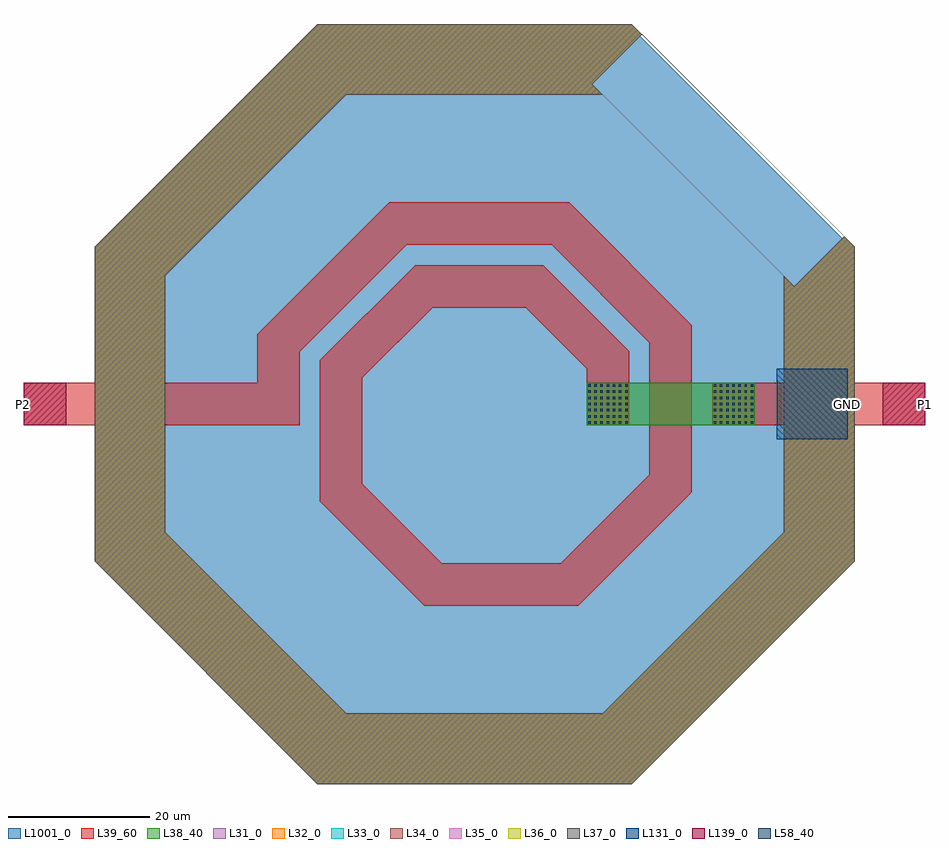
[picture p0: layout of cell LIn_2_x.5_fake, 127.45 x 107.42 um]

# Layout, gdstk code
import gdstk
lib = gdstk.Library(unit=1e-6, precision=1e-09)
def R(c, l, rs):  # rectangles x0, y0, x1, y1
    for r in rs: c.add(gdstk.rectangle(r[:2], r[2:], *l))
def A(c, l, x, y, w, h, nx, ny, dx, dy):  # array of equal rectangles
    R(c, l, [(x+i*dx, y+j*dy, x+i*dx+w, y+j*dy+h) for i in range(nx) for j in range(ny)])
def P(c, l, *ps):  # polygons
    for p in ps: c.add(gdstk.Polygon(p, *l))
L31_0 = (31, 0)
L32_0 = (32, 0)
L33_0 = (33, 0)
L34_0 = (34, 0)
L35_0 = (35, 0)
L36_0 = (36, 0)
L37_0 = (37, 0)
L38_40 = (38, 40)
L39_60 = (39, 60)
L58_40 = (58, 40)
L131_0 = (131, 0)
L139_0 = (139, 0)
L1001_0 = (1001, 0)

lin_2_x_5_fake = lib.new_cell('LIn_2_x.5_fake')
P(lin_2_x_5_fake, L31_0, [(45.175,16.641),(52.246,23.712),(22.248,53.71),(-22.248,53.71),(-53.71,22.248),(-53.71,-22.248),(-22.248,-53.71),(22.248,-53.71),(53.71,-22.248),(53.71,22.248),(23.712,52.246),(16.641,45.175),(43.71,18.105),(43.71,-18.105),(18.105,-43.71),(-18.105,-43.71),(-43.71,-18.105),(-43.71,18.105),(-18.105,43.71),(18.105,43.71)])
P(lin_2_x_5_fake, L32_0, [(45.175,16.641),(52.246,23.712),(22.248,53.71),(-22.248,53.71),(-53.71,22.248),(-53.71,-22.248),(-22.248,-53.71),(22.248,-53.71),(53.71,-22.248),(53.71,22.248),(23.712,52.246),(16.641,45.175),(43.71,18.105),(43.71,-18.105),(18.105,-43.71),(-18.105,-43.71),(-43.71,-18.105),(-43.71,18.105),(-18.105,43.71),(18.105,43.71)])
P(lin_2_x_5_fake, L33_0, [(45.175,16.641),(52.246,23.712),(22.248,53.71),(-22.248,53.71),(-53.71,22.248),(-53.71,-22.248),(-22.248,-53.71),(22.248,-53.71),(53.71,-22.248),(53.71,22.248),(23.712,52.246),(16.641,45.175),(43.71,18.105),(43.71,-18.105),(18.105,-43.71),(-18.105,-43.71),(-43.71,-18.105),(-43.71,18.105),(-18.105,43.71),(18.105,43.71)])
P(lin_2_x_5_fake, L34_0, [(45.175,16.641),(52.246,23.712),(22.248,53.71),(-22.248,53.71),(-53.71,22.248),(-53.71,-22.248),(-22.248,-53.71),(22.248,-53.71),(53.71,-22.248),(53.71,22.248),(23.712,52.246),(16.641,45.175),(43.71,18.105),(43.71,-18.105),(18.105,-43.71),(-18.105,-43.71),(-43.71,-18.105),(-43.71,18.105),(-18.105,43.71),(18.105,43.71)])
P(lin_2_x_5_fake, L35_0, [(45.175,16.641),(52.246,23.712),(22.248,53.71),(-22.248,53.71),(-53.71,22.248),(-53.71,-22.248),(-22.248,-53.71),(22.248,-53.71),(53.71,-22.248),(53.71,22.248),(23.712,52.246),(16.641,45.175),(43.71,18.105),(43.71,-18.105),(18.105,-43.71),(-18.105,-43.71),(-43.71,-18.105),(-43.71,18.105),(-18.105,43.71),(18.105,43.71)])
P(lin_2_x_5_fake, L36_0, [(45.175,16.641),(52.246,23.712),(22.248,53.71),(-22.248,53.71),(-53.71,22.248),(-53.71,-22.248),(-22.248,-53.71),(22.248,-53.71),(53.71,-22.248),(53.71,22.248),(23.712,52.246),(16.641,45.175),(43.71,18.105),(43.71,-18.105),(18.105,-43.71),(-18.105,-43.71),(-43.71,-18.105),(-43.71,18.105),(-18.105,43.71),(18.105,43.71)])
P(lin_2_x_5_fake, L37_0, [(45.175,16.641),(52.246,23.712),(22.248,53.71),(-22.248,53.71),(-53.71,22.248),(-53.71,-22.248),(-22.248,-53.71),(22.248,-53.71),(53.71,-22.248),(53.71,22.248),(23.712,52.246),(16.641,45.175),(43.71,18.105),(43.71,-18.105),(18.105,-43.71),(-18.105,-43.71),(-43.71,-18.105),(-43.71,18.105),(-18.105,43.71),(18.105,43.71)])
R(lin_2_x_5_fake, L38_40, [(15.85,-3,39.6,3)])
P(lin_2_x_5_fake, L38_40, [(45.175,16.641),(52.246,23.712),(22.248,53.71),(-22.248,53.71),(-53.71,22.248),(-53.71,-22.248),(-22.248,-53.71),(22.248,-53.71),(53.71,-22.248),(53.71,22.248),(23.712,52.246),(16.641,45.175),(43.71,18.105),(43.71,-18.105),(18.105,-43.71),(-18.105,-43.71),(-43.71,-18.105),(-43.71,18.105),(-18.105,43.71),(18.105,43.71)])
R(lin_2_x_5_fake, L39_60, [(-63.725,-3,-24.725,3), (33.6,-3,63.725,3)])
P(lin_2_x_5_fake, L39_60, [(15.85,-3),(21.85,-3),(21.85,7.483),(9.697,19.63),(-8.397,19.63),(-21.85,6.183),(-21.85,-13.758),(-7.103,-28.505),(14.678,-28.505),(30.725,-12.458),(30.725,11.158),(13.378,28.505),(-12.078,28.505),(-30.725,9.858),(-30.725,0),(-24.725,0),(-24.725,7.372),(-9.592,22.505),(10.892,22.505),(24.725,8.672),(24.725,-9.972),(12.192,-22.505),(-4.617,-22.505),(-15.85,-11.272),(-15.85,3.697),(-5.913,13.63),(7.213,13.63),(15.85,4.997)],
  [(45.175,16.641),(52.246,23.712),(22.248,53.71),(-22.248,53.71),(-53.71,22.248),(-53.71,-22.248),(-22.248,-53.71),(22.248,-53.71),(53.71,-22.248),(53.71,22.248),(23.712,52.246),(16.641,45.175),(43.71,18.105),(43.71,-18.105),(18.105,-43.71),(-18.105,-43.71),(-43.71,-18.105),(-43.71,18.105),(-18.105,43.71),(18.105,43.71)])
A(lin_2_x_5_fake, L58_40, 16.064, -2.785, 0.35, 0.35, 7, 7, 0.87, 0.87)
A(lin_2_x_5_fake, L58_40, 33.814, -2.785, 0.35, 0.35, 7, 7, 0.87, 0.87)
R(lin_2_x_5_fake, L131_0, [(42.725,-5,52.725,5)])
R(lin_2_x_5_fake, L139_0, [(-63.725,-3,-57.725,3), (57.725,-3,63.725,3)])
P(lin_2_x_5_fake, L1001_0, [(53.33,22.09),(22.09,53.33),(-22.09,53.33),(-53.33,22.09),(-53.33,-22.09),(-22.09,-53.33),(22.09,-53.33),(53.33,-22.09)],
  [(53.33,22.09),(22.09,53.33),(-22.09,53.33),(-53.33,22.09),(-53.33,-22.09),(-22.09,-53.33),(22.09,-53.33),(53.33,-22.09)],
  [(53.33,22.09),(22.09,53.33),(-22.09,53.33),(-53.33,22.09),(-53.33,-22.09),(-22.09,-53.33),(22.09,-53.33),(53.33,-22.09)],
  [(53.33,22.09),(22.09,53.33),(-22.09,53.33),(-53.33,22.09),(-53.33,-22.09),(-22.09,-53.33),(22.09,-53.33),(53.33,-22.09)],
  [(53.33,22.09),(22.09,53.33),(-22.09,53.33),(-53.33,22.09),(-53.33,-22.09),(-22.09,-53.33),(22.09,-53.33),(53.33,-22.09)],
  [(53.33,22.09),(22.09,53.33),(-22.09,53.33),(-53.33,22.09),(-53.33,-22.09),(-22.09,-53.33),(22.09,-53.33),(53.33,-22.09)],
  [(53.33,22.09),(22.09,53.33),(-22.09,53.33),(-53.33,22.09),(-53.33,-22.09),(-22.09,-53.33),(22.09,-53.33),(53.33,-22.09)],
  [(53.33,22.09),(22.09,53.33),(-22.09,53.33),(-53.33,22.09),(-53.33,-22.09),(-22.09,-53.33),(22.09,-53.33),(53.33,-22.09)],
  [(53.33,22.09),(22.09,53.33),(-22.09,53.33),(-53.33,22.09),(-53.33,-22.09),(-22.09,-53.33),(22.09,-53.33),(53.33,-22.09)])
lin_2_x_5_fake.add(gdstk.Label('P1', (63.724,0), layer=139, texttype=0))
lin_2_x_5_fake.add(gdstk.Label('P2', (-63.724,0), layer=139, texttype=0))
lin_2_x_5_fake.add(gdstk.Label('GND', (52.724,0), layer=131, texttype=0))

lib.write_gds('LIn_2_x.5_fake.gds')
